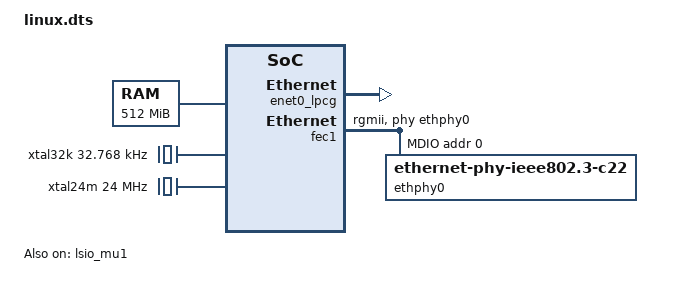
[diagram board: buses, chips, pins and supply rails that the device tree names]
/dts-v1/;

/ {   
	#size-cells = <0x2>;
	#address-cells = <0x2>;

	cpus {
		#size-cells = <0x0>;
		#address-cells = <0x1>;

		cpu@0 {
			compatible = "arm,armv8";
			device_type = "cpu";
			enable-method = "psci";
			reg = <0x0>;
		};

		cpu@1 {
			compatible = "arm,armv8";
			device_type = "cpu";
			enable-method = "psci";
			reg = <0x1>;
		};

		cpu@2 {
			reg = <0x2>;
			compatible = "arm,armv8";
			device_type = "cpu";
			enable-method = "psci";
		};

		cpu@3 {
			reg = <0x3>;
			compatible = "arm,armv8";
			device_type = "cpu";
			enable-method = "psci";
		};

		cpu@4 {
			compatible = "arm,armv8";
			device_type = "cpu";
			reg = <0x4>;
			enable-method = "psci";
		};

	};

	psci {
		compatible = "arm,psci-0.2";
		method = "smc";
	};


	memory@80200000 {
		reg = <0x0 0x80200000 0x0 0x20000000>;
		device_type = "memory";
	};

	gic: intc@8000000 {
		interrupts = <0x01 0x09 0x04>;
		reg = <0x00 0x51a00000 0x00 0x10000 0x00 0x51b00000 0x00 0xf60000>;
		#redistributor-regions = <0x01>;
		compatible = "arm,gic-v3";
		interrupt-controller;
		#interrupt-cells = <0x03>;
        interrupt-parent = <&gic>;
	};

   	timer {
		compatible = "arm,armv8-timer";
		interrupt-parent = <&gic>;
		interrupts = <0x1 0xd 0xf08 0x1 0xe 0xf08 0x1 0xb 0xf08 0x1 0xa 0xf08>;
	};

	conn_axi_clk: clock-conn-axi {
		compatible = "fixed-clock";
		#clock-cells = <0>;
		clock-frequency = <333333333>;
		clock-output-names = "conn_axi_clk";
	};

	conn_ipg_clk: clock-conn-ipg {
		compatible = "fixed-clock";
		#clock-cells = <0>;
		clock-frequency = <83333333>;
		clock-output-names = "conn_ipg_clk";
	};

	xtal32k: clock-xtal32k {
		compatible = "fixed-clock";
		#clock-cells = <0>;
		clock-frequency = <32768>;
		clock-output-names = "xtal_32KHz";
	};

	xtal24m: clock-xtal24m {
		compatible = "fixed-clock";
		#clock-cells = <0>;
		clock-frequency = <24000000>;
		clock-output-names = "xtal_24MHz";
	};

	/**
	 * We are assigning a mu to the linux guest because the linux drivers 
	 * assume linux can directly interact with the SCU to configure its devices.
	 * Therefore, this guest will be able to configure peripherals not assigned
	 * to it, as for example, the lpuart0 used by the hypervisor and possibly
	 * other guests. In the future we will have to either to move the cores 
	 * belonging to this guest to a separate scfw partition or paravirtualise 
	 * the MU1 and interpose the guest's communcation to the SCU, to limit 
	 * which resource it might configure.
	 */ 
	lsio_mu1: mailbox@5d1c0000 {
		compatible = "fsl,imx8qm-mu", "fsl,imx6sx-mu";
		reg = <0x0 0x5d1c0000 0x0 0x10000>;
		interrupt-parent = <&gic>;
		interrupts = <0 177 4>;
		#mbox-cells = <2>;
		status = "okay";
	};

	scu {
		compatible = "fsl,imx-scu";

		mbox-names = "tx0", "tx1", "tx2", "tx3",
			     "rx0", "rx1", "rx2", "rx3",
			     "gip3";

		mboxes = <&lsio_mu1 0 0
			  &lsio_mu1 0 1
			  &lsio_mu1 0 2
			  &lsio_mu1 0 3
			  &lsio_mu1 1 0
			  &lsio_mu1 1 1
			  &lsio_mu1 1 2
			  &lsio_mu1 1 3
			  &lsio_mu1 3 3>;

		pd: imx8qx-pd {
			compatible = "fsl,imx8qm-scu-pd", "fsl,scu-pd";
			#power-domain-cells = <1>;
		};

		clk: clock-controller {
			compatible = "fsl,imx8qm-clk", "fsl,scu-clk";
			#clock-cells = <2>;
			clocks = <&xtal32k &xtal24m>;
			clock-names = "xtal_32KHz", "xtal_24Mhz";
		};

		iomuxc: pinctrl {
			compatible = "fsl,imx8qm-iomuxc";
			pinctrl-names = "default";
			
			pinctrl_fec1: fec1grp {
				fsl,pins = <0xff 0x00 0x14a0 
				0xa6 0x00 0x6000020 
				0xa5 0x00 0x6000020 
				0xf4 0x00 0x6000020 
				0xf3 0x00 0x6000020 
				0xf5 0x00 0x6000020 
				0xf6 0x00 0x6000020 
				0xf7 0x00 0x6000020 
				0xf8 0x00 0x6000020 
				0xf9 0x00 0x6000020 
				0xfa 0x00 0x6000020 
				0xfb 0x00 0x6000020 
				0xfc 0x00 0x6000020 
				0xfd 0x00 0x6000020 
				0xfe 0x00 0x6000020>;
			};
		};

		ocotp: imx8qm-ocotp {
			compatible = "fsl,imx8qm-scu-ocotp";
			#address-cells = <1>;
			#size-cells = <1>;
			read-only;

			fec_mac0: mac@1c4 {
				reg = <0x1c4 6>;
			};

			fec_mac1: mac@1c6 {
				reg = <0x1c6 6>;
			};
		};
	};

	enet0_lpcg: clock-controller@5b230000 {
		compatible = "fsl,imx8qxp-lpcg";
		reg = <0x0 0x5b230000 0x0 0x10000>;
		#clock-cells = <1>;
		clocks = <&clk 251 2>,
			 <&clk 251 2>,
			 <&conn_axi_clk>,
			 <&clk 251 24>,
			 <&conn_ipg_clk>,
			 <&conn_ipg_clk>;
		bit-offset = <0 4 8 12 16 20>;
		clock-output-names = "enet0_lpcg_timer_clk",
				     "enet0_lpcg_txc_sampling_clk",
				     "enet0_lpcg_ahb_clk",
				     "enet0_lpcg_rgmii_txc_clk",
				     "enet0_lpcg_ipg_clk",
				     "enet0_lpcg_ipg_s_clk";
		power-domains = <&pd 251>;
	};

	fec1: ethernet@5b040000 {
		compatible = "fsl,imx8qm-fec", "fsl,imx6sx-fec";
		reg = <0x0 0x5b040000 0x0 0x10000>;
		interrupt-parent = <&gic>;
		interrupts = <0 258 4>,
			     <0 256 4>,
			     <0 257 4>,
			     <0 259 4>;
		clocks = <&enet0_lpcg 4>,
			 <&enet0_lpcg 2>,
			 <&enet0_lpcg 3>,
			 <&enet0_lpcg 0>,
			 <&enet0_lpcg 1>;
		clock-names = "ipg", "ahb", "enet_clk_ref", "ptp", "enet_2x_txclk";
		status = "okay";

		assigned-clocks = <&clk 251 2>,
				  <&clk 251 25>;
		assigned-clock-rates = <250000000>, <125000000>;
		fsl,num-tx-queues=<3>;
		fsl,num-rx-queues=<3>;
		power-domains = <&pd 251>;

		pinctrl-names = "default";
		pinctrl-0 = <&pinctrl_fec1>;
		phy-mode = "rgmii";
		phy-handle = <&ethphy0>;
		fsl,magic-packet;
		nvmem-cells = <&fec_mac0>;
		nvmem-cell-names = "mac-address";
		fsl,rgmii_rxc_dly;
		fsl,rgmii_txc_dly;
		
		mdio {
			#address-cells = <1>;
			#size-cells = <0>;

			ethphy0: ethernet-phy@0 {
				compatible = "ethernet-phy-ieee802.3-c22";
				reg = <0>;
				at803x,eee-disabled;
				at803x,vddio-1p8v;
				status = "okay";
			};
		};
	};

    bao-ipc@f0000000 {
        compatible = "bao,ipcshmem";
        reg = <0x0 0xf0000000 0x0 0x00010000>;
		read-channel = <0x0 0x2000>;
		write-channel = <0x2000 0x2000>;
        interrupts = <0 52 1>;
		interrupt-parent = <&gic>;
		id = <0>;
    };

	/**
	 * The purpose of this dummy lpuart node is for linux not turning off the 
	 * lpuart that is in use by the hypervisor and possibly other guest. 
	 * By assigning it to the stdout-path in /chosen, the linux pd driver will
	 * leave it be and not turn it off. As explained previsouly, this is just
	 * for demonstration purposes and in the future this power resource controls
	 * will either be blocked by placing linux and its resources in their own
	 * scfw partition or by having SCU interactions mediated by the hypervisor.
	 */
	lpuart0_dummy: lpuart0 {
		power-domains = <&pd 57>;
	};

	aliases {
		ethernet0 = &fec1;
	};

	chosen {
		bootargs = "clk_ignore_unused ip=192.168.42.15 carrier_timeout=0";
		stdout-path = &lpuart0_dummy;
	};
};
